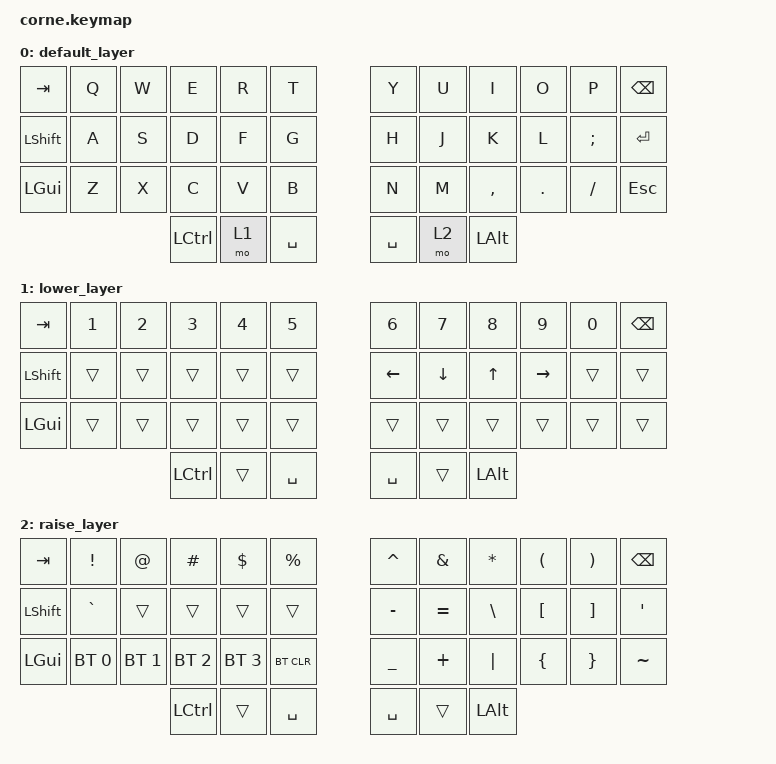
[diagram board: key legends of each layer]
/*
 * Copyright (c) 2020 The ZMK Contributors
 *
 * SPDX-License-Identifier: MIT
 */

#include <behaviors.dtsi>
#include <dt-bindings/zmk/keys.h>
#include <dt-bindings/zmk/bt.h>
#include <dt-bindings/zmk/rgb.h>
// #include <dt-bindings/led/led.h>

// &led_strip {
//                        chain-length = <27>; 
// };

/ {
        keymap {
                compatible = "zmk,keymap";

                default_layer {
// -----------------------------------------------------------------------------------------
// |  TAB |  Q  |  W  |  E  |  R  |  T  |   |  Y  |  U   |  I  |  O  |  P  | BSPC |
// | SHFT |  A  |  S  |  D  |  F  |  G  |   |  H  |  J   |  K  |  L  |  ;  | RET  |
// | LGUI |  Z  |  X  |  C  |  V  |  B  |   |  N  |  M   |  ,  |  .  |  /  | ESC  |
//                    | CTRL| LWR | SPC |   | SPC | RSE  | ALT |
                        bindings = <
   &kp TAB   &kp Q &kp W &kp E &kp R &kp T   &kp Y &kp U  &kp I     &kp O   &kp P    &kp BSPC
   &kp LSHFT &kp A &kp S &kp D &kp F &kp G   &kp H &kp J  &kp K     &kp L   &kp SEMI &kp RET 
   &kp LGUI  &kp Z &kp X &kp C &kp V &kp B   &kp N &kp M  &kp COMMA &kp DOT &kp FSLH &kp ESC
                 &kp LCTRL &mo 1 &kp SPACE   &kp SPACE &mo 2 &kp LALT
                        >;
                };
                lower_layer {
// -----------------------------------------------------------------------------------------
// |  TAB |  1  |  2  |  3  |  4  |  5  |   |  6  |  7  |  8  |  9  |  0  | BSPC |
// | SHFT |     |     |     |     |     |   | LFT | DWN |  UP | RGT |     |      |
// | LGUI |     |     |     |     |     |   |     |     |     |     |     |      |
//                    | CTRL|     | SPC |   | SPC |     | ALT |
                        bindings = <
   &kp TAB    &kp N1 &kp N2 &kp N3 &kp N4 &kp N5   &kp N6   &kp N7   &kp N8 &kp N9    &kp N0 &kp BSPC
   &kp LSHFT  &trans &trans &trans &trans &trans   &kp LEFT &kp DOWN &kp UP &kp RIGHT &trans &trans
   &kp LGUI   &trans &trans &trans &trans &trans   &trans   &trans   &trans &trans    &trans &trans
                     &kp LCTRL &trans  &kp SPACE   &kp SPACE &trans  &kp LALT
                        >;
                };

                raise_layer {

// -----------------------------------------------------------------------------------------
// |  TAB |  !  |  @  |  #  |  $  |  %  |   |  ^  |  &  |  *  |  (  |  )  | BSPC |
// | SHFT |  `  |     |     |     |     |   |  -  |  =  |  \  |  [  |  ]  |  '   |
// | LGUI | BT1 | BT2 | BT3 | BT4 | BCLR|   |  _  |  +  |  |  |  {  |  }  |  ~   |
//                    | CTRL|     | SPC |   | SPC |     | ALT |

                        bindings = <
   &kp  TAB   &kp EXCL     &kp AT       &kp HASH     &kp DLLR     &kp PRCNT    &kp CARET &kp AMPS  &kp ASTRK &kp LPAR &kp RPAR &kp BSPC
   &kp LSHFT  &kp GRAVE    &trans       &trans       &trans       &trans       &kp MINUS &kp EQUAL &kp BSLH  &kp LBKT &kp RBKT &kp SQT
   &kp LGUI   &bt BT_SEL 0 &bt BT_SEL 1 &bt BT_SEL 2 &bt BT_SEL 3 &bt BT_CLR   &kp UNDER &kp PLUS  &kp PIPE  &kp LBRC &kp RBRC &kp TILDE
                                                &kp LCTRL &trans   &kp SPACE   &kp SPACE &trans    &kp LALT
                        >;
                };
        };
};
